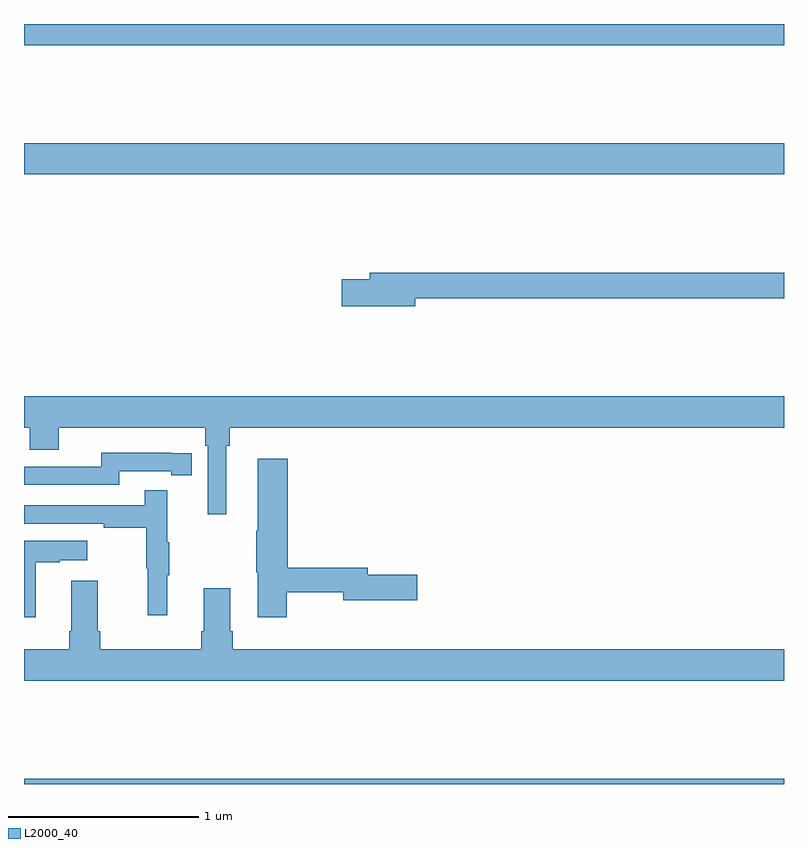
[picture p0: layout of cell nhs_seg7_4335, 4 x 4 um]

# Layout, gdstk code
import gdstk
lib = gdstk.Library(unit=1e-6, precision=1e-09)
def R(c, l, rs):  # rectangles x0, y0, x1, y1
    for r in rs: c.add(gdstk.rectangle(r[:2], r[2:], *l))
def P(c, l, *ps):  # polygons
    for p in ps: c.add(gdstk.Polygon(p, *l))
L2000_40 = (2000, 40)

nhs_seg7_4335 = lib.new_cell('nhs_seg7_4335')
R(nhs_seg7_4335, L2000_40, [(383,1072,387,1072.028), (383,1075.208,387,1075.372), (383,1075.888,387,1076)])
P(nhs_seg7_4335, L2000_40, [(385.06,1074.556),(387,1074.556),(387,1074.692),(384.821,1074.692),(384.821,1074.656),(384.672,1074.656),(384.672,1074.514),(385.06,1074.514)],
  [(384.064,1073.78),(384.083,1073.78),(384.083,1073.876),(387,1073.876),(387,1074.04),(383,1074.04),(383,1073.876),(383.03,1073.876),(383.03,1073.759),(383.182,1073.759),(383.182,1073.876),(383.954,1073.876),(383.954,1073.78),(383.967,1073.78),(383.967,1073.421),(384.064,1073.421)],
  [(383.502,1073.646),(383.774,1073.646),(383.774,1073.626),(383.882,1073.626),(383.882,1073.742),(383.774,1073.742),(383.774,1073.743),(383.406,1073.743),(383.406,1073.67),(383,1073.67),(383,1073.574),(383.502,1073.574)],
  [(384.384,1073.01),(384.68,1073.01),(384.68,1072.967),(385.069,1072.967),(385.069,1073.102),(384.808,1073.102),(384.808,1073.138),(384.389,1073.138),(384.389,1073.713),(384.23,1073.713),(384.23,1073.333),(384.223,1073.333),(384.223,1073.115),(384.23,1073.115),(384.23,1072.878),(384.384,1072.878)],
  [(383.753,1073.099),(383.764,1073.099),(383.764,1073.273),(383.753,1073.273),(383.753,1073.545),(383.635,1073.545),(383.635,1073.466),(383,1073.466),(383,1073.37),(383.419,1073.37),(383.419,1073.35),(383.643,1073.35),(383.643,1073.136),(383.65,1073.136),(383.65,1072.887),(383.753,1072.887)],
  [(383.062,1073.167),(383.189,1073.167),(383.189,1073.177),(383.332,1073.177),(383.332,1073.281),(383,1073.281),(383,1072.878),(383.062,1072.878)],
  [(387,1072.708),(384.098,1072.708),(384.098,1072.804),(384.085,1072.804),(384.085,1073.029),(383.945,1073.029),(383.945,1072.804),(383.933,1072.804),(383.933,1072.708),(383.402,1072.708),(383.402,1072.804),(383.389,1072.804),(383.389,1073.071),(383.249,1073.071),(383.249,1072.804),(383.237,1072.804),(383.237,1072.708),(383,1072.708),(383,1072.544),(387,1072.544)])

lib.write_gds('nhs_seg7_4335.gds')
